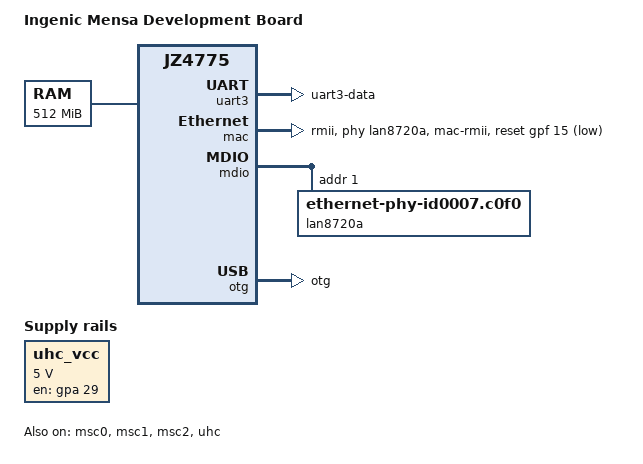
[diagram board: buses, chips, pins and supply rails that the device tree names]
// SPDX-License-Identifier: GPL-2.0
/dts-v1/;

#include "jz4775.dtsi"
#include <dt-bindings/gpio/gpio.h>
#include <dt-bindings/interrupt-controller/irq.h>

/ {
	compatible = "ingenic,mensa", "ingenic,jz4775";
	model = "Ingenic Mensa Development Board";

	aliases {
		serial3 = &uart3;
	};

	chosen {
		stdout-path = "serial3:115200n8";
	};

	memory {
		device_type = "memory";
		reg = <0x0 0x10000000>,
		      <0x30000000 0x10000000>;
	};

	uhc-regulator {
		compatible = "regulator-fixed";

		regulator-name = "uhc_vcc";
		regulator-min-microvolt = <5000000>;
		regulator-max-microvolt = <5000000>;
		regulator-always-on;

		gpio = <&gpa 29 GPIO_ACTIVE_HIGH>;
		enable-active-high;
    };
};

&exclk {
	clock-frequency = <24000000>;
};

&cgu {
	/*
	 * Use the 32.768 kHz oscillator as the parent of the RTC for a higher
	 * precision.
	 */
	assigned-clocks = <&cgu JZ4775_CLK_RTC>;
	assigned-clock-parents = <&cgu JZ4775_CLK_RTCLK>;
};

&tcu {
	/* 1500 kHz for the system timer, the clocksource, and the OST. */
	assigned-clocks = <&tcu TCU_CLK_TIMER0>, <&tcu TCU_CLK_TIMER1>, <&tcu TCU_CLK_OST>;
	assigned-clock-rates = <1500000>, <1500000>, <1500000>;
};

&uart3 {
	status = "okay";

	pinctrl-names = "default";
	pinctrl-0 = <&pins_uart3>;
};

&msc0 {
	status = "okay";

	bus-width = <8>;
	max-frequency = <50000000>;

	pinctrl-names = "default";
	pinctrl-0 = <&pins_msc0>;

	non-removable;
};

&msc1 {
	status = "okay";

	bus-width = <4>;
	max-frequency = <50000000>;

	pinctrl-names = "default";
	pinctrl-0 = <&pins_msc1>;

	non-removable;
};

&msc2 {
	status = "okay";

	bus-width = <4>;
	max-frequency = <50000000>;

	pinctrl-names = "default";
	pinctrl-0 = <&pins_msc2>;
};

&mac {
	status = "okay";

	phy-mode = "rmii";
	phy-handle = <&lan8720a>;

	pinctrl-names = "default";
	pinctrl-0 = <&pins_mac>;

	snps,reset-gpio = <&gpf 15 GPIO_ACTIVE_LOW>; /* PF15 */
	snps,reset-active-low;
	snps,reset-delays-us = <0 10000 30000>;
};

&mdio {
	status = "okay";

	lan8720a: ethernet-phy@1 {
		compatible = "ethernet-phy-id0007.c0f0", "ethernet-phy-ieee802.3-c22";
		reg = <1>;
	};
};

&uhc {
	status = "okay";

	assigned-clocks = <&cgu JZ4775_CLK_UHC>;
	assigned-clock-rates = <48000000>;
};

&otg {
	status = "okay";

	dr_mode = "otg";
};

&pinctrl {
	pins_uart3: uart3 {
		function = "uart3";
		groups = "uart3-data";
		bias-disable;
	};

	pins_msc0: msc0 {
		function = "mmc0";
		groups = "mmc0-1bit-a", "mmc0-4bit-a", "mmc0-8bit-a";
		bias-disable;
	};

	pins_msc1: msc1 {
		function = "mmc1";
		groups = "mmc1-1bit-d", "mmc1-4bit-d";
		bias-disable;
	};

	pins_msc2: msc2 {
		function = "mmc2";
		groups = "mmc2-1bit-e", "mmc2-4bit-e";
		bias-disable;
	};

	pins_mac: mac {
		function = "mac";
		groups = "mac-rmii";
		bias-disable;
	};
};
